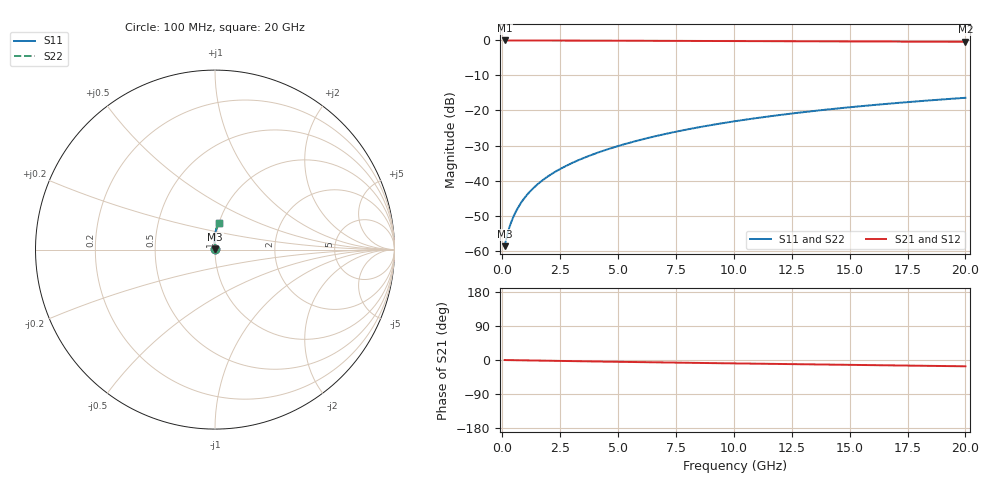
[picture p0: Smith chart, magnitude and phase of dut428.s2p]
! Touchstone file exported from HFSS 2024.1.0
!  File:  C:/UserFiles/LocalFiles/RDL_TSV_Batchsim/temp_RDL_bottom_428_1779684066.aedt
!  Generated:  12:43:43 PM May 25, 2026
!  Design:  RDL_bottom
!  Project:  temp_RDL_bottom_428_1779684066
!  Setup:  Setup1
!  Solution:  Sweep
! Variables:
!  dtsv = 10.80580581um
!  hbump = 3um
!  htsv = 75.95um
!  ldown = 232.18um
!  lrdl = 100um
!  p = 40
!  p1 = 47.87um
!  rhole = 1um
!  t = 450um
!  tdown = 4.15um
!  trdl = 3.915915916um
!  wdown = 27.11um
!  wrdl = 20um
# GHz S MA R 50.000000
! Terminal data exported
! Port[1] = RDL1_T1
! Port[2] = RDL1_T2
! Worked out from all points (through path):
!   200 points, 100 MHz to 20 GHz, reference 50 ohm
!   highest |S21| = -0.01 dB at 100 MHz (marker M1); lowest = -0.4 dB at 20 GHz (marker M2)
!   group delay of S21, straight-line fit = 2.27 ps
!   lowest |S11| = -58.7 dB at 100 MHz (marker M3), VSWR 1.00, Z = 50.1 + j0.0669 ohm
!   |S11| at or under -10 dB: start of sweep to end of sweep
!   |S22| runs from -58.7 to -16.4 dB; largest |S21 - S12| = 3.2e-15
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0.1  0.001157 35.2  0.999 -0.1  0.999 -0.1  0.001157 35.2
! Gamma 0 0 0 0
! Port Impedance 50 0 50 0
0.2  0.001624 51.4  0.999 -0.2  0.999 -0.2  0.001624 51.4
0.3  0.002118 60.1  0.9989 -0.3  0.9989 -0.3  0.002118 60.1
0.4  0.002625 65.8  0.9988 -0.4  0.9988 -0.4  0.002625 65.8
0.5  0.003145 69.9  0.9987 -0.5  0.9987 -0.5  0.003145 69.9
0.6  0.003676 73.0  0.9987 -0.6  0.9987 -0.6  0.003676 73.0
0.8  0.004764 77.3  0.9985 -0.8  0.9985 -0.8  0.004764 77.3
1.1  0.006436 81.4  0.9983 -1.1  0.9983 -1.1  0.006435 81.4
1.5  0.008716 84.6  0.9979 -1.5  0.9979 -1.5  0.008716 84.6
1.8  0.01046 86.3  0.9975 -1.8  0.9975 -1.8  0.01046 86.3
2.1  0.01223 87.6  0.9971 -2.1  0.9971 -2.1  0.01223 87.6
2.7  0.01586 89.6  0.9961 -2.7  0.9961 -2.7  0.01586 89.6
3.5  0.02092 91.4  0.9944 -3.4  0.9944 -3.4  0.02091 91.4
4.2  0.02555 92.4  0.9928 -4.1  0.9928 -4.1  0.02555 92.4
5  0.03109 93.1  0.9908 -4.8  0.9908 -4.8  0.03109 93.1
6.8  0.04438 93.5  0.986 -6.3  0.986 -6.3  0.04438 93.5
8.4  0.05693 92.8  0.9818 -7.7  0.9818 -7.7  0.05692 92.8
10.1  0.07071 91.6  0.9775 -9.0  0.9775 -9.0  0.07071 91.6
11.7  0.08391 90.2  0.9737 -10.3  0.9737 -10.3  0.0839 90.2
13.4  0.09799 88.5  0.9699 -11.6  0.9699 -11.6  0.09799 88.5
16.7  0.1252 85.1  0.9629 -14.1  0.9629 -14.1  0.1252 85.1
20  0.1518 81.7  0.9562 -16.6  0.9562 -16.6  0.1518 81.7
